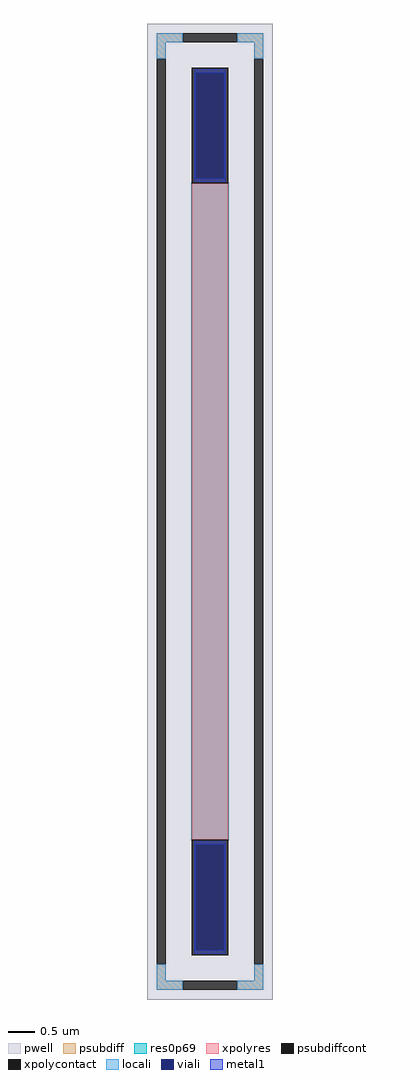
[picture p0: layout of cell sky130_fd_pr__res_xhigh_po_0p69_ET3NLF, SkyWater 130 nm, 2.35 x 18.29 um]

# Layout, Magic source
magic
tech sky130A
magscale 1 2
<< pwell >>
rect -235 -1829 235 1829
<< psubdiff >>
rect -199 1759 -103 1793
rect 103 1759 199 1793
rect -199 1697 -165 1759
rect 165 1697 199 1759
rect -199 -1759 -165 -1697
rect 165 -1759 199 -1697
rect -199 -1793 -103 -1759
rect 103 -1793 199 -1759
<< psubdiffcont >>
rect -103 1759 103 1793
rect -199 -1697 -165 1697
rect 165 -1697 199 1697
rect -103 -1793 103 -1759
<< xpolycontact >>
rect -69 1231 69 1663
rect -69 -1663 69 -1231
<< xpolyres >>
rect -69 -1231 69 1231
<< locali >>
rect -199 1759 -103 1793
rect 103 1759 199 1793
rect -199 1697 -165 1759
rect 165 1697 199 1759
rect -199 -1759 -165 -1697
rect 165 -1759 199 -1697
rect -199 -1793 -103 -1759
rect 103 -1793 199 -1759
<< viali >>
rect -53 1248 53 1645
rect -53 -1645 53 -1248
<< metal1 >>
rect -59 1645 59 1657
rect -59 1248 -53 1645
rect 53 1248 59 1645
rect -59 1236 59 1248
rect -59 -1248 59 -1236
rect -59 -1645 -53 -1248
rect 53 -1645 59 -1248
rect -59 -1657 59 -1645
<< res0p69 >>
rect -71 -1233 71 1233
<< properties >>
string FIXED_BBOX -182 -1776 182 1776
string gencell sky130_fd_pr__res_xhigh_po_0p69
string library sky130
string parameters w 0.690 l 12.305 m 1 nx 1 wmin 0.690 lmin 0.50 rho 2000 val 36.212k dummy 0 dw 0.0 term 188.2 sterm 0.0 caplen 0 wmax 0.690 guard 1 glc 1 grc 1 gtc 1 gbc 1 compatible {sky130_fd_pr__res_xhigh_po_0p35  sky130_fd_pr__res_xhigh_po_0p69 sky130_fd_pr__res_xhigh_po_1p41  sky130_fd_pr__res_xhigh_po_2p85 sky130_fd_pr__res_xhigh_po_5p73} snake 0 full_metal 1 n_guard 0 hv_guard 0 vias 1 viagb 0 viagt 0 viagl 0 viagr 0
<< end >>
